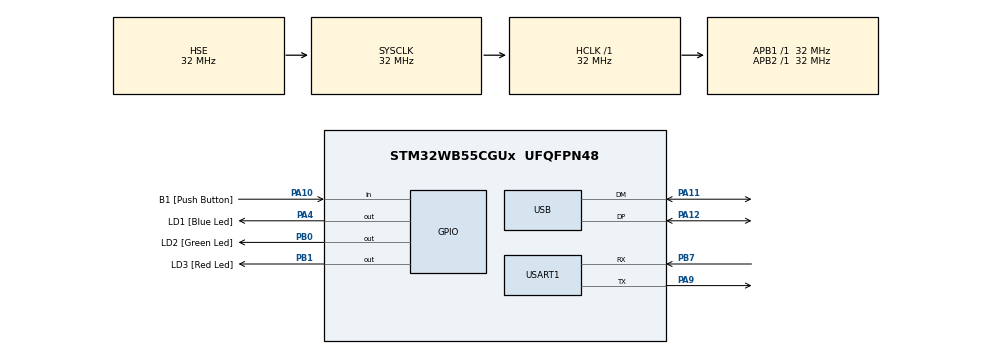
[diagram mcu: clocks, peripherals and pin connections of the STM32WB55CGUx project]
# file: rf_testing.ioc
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Mcu.Family=STM32WB
Mcu.Name=STM32WB55CGUx
Mcu.Package=UFQFPN48
NVIC.PriorityGroup=NVIC_PRIORITYGROUP_4
NVIC.RTC_WKUP_IRQn=true\:0\:0\:false\:false\:true\:true\:true
NVIC.USB_LP_IRQn=true\:0\:0\:false\:false\:true\:false\:true
OSC_IN.Mode=HSE-External-Oscillator
OSC_IN.Signal=RCC_OSC_IN
OSC_OUT.Mode=HSE-External-Oscillator
OSC_OUT.Signal=RCC_OSC_OUT
PA10.GPIO_Label=B1 [Push Button]
PA10.Signal=GPIO_Input
PA11.Mode=Device
PA11.Signal=USB_DM
PA12.Mode=Device
PA12.Signal=USB_DP
PA13.GPIO_Label=JTMS
PA13.Mode=Trace_Asynchronous_SW
PA13.Signal=SYS_JTMS-SWDIO
PA14.GPIO_Label=JTCK
PA14.Mode=Trace_Asynchronous_SW
PA14.Signal=SYS_JTCK-SWCLK
PA4.GPIO_Label=LD1 [Blue Led]
PA4.Signal=GPIO_Output
PA9.Mode=Asynchronous
PA9.Signal=USART1_TX
PB0.GPIO_Label=LD2 [Green Led]
PB0.Signal=GPIO_Output
PB1.GPIO_Label=LD3 [Red Led]
PB1.Signal=GPIO_Output
PB3.GPIO_Label=JTDO
PB3.Mode=Trace_Asynchronous_SW
PB3.Signal=SYS_JTDO-SWO
PB7.Mode=Asynchronous
PB7.Signal=USART1_RX
PC14-OSC32_IN.Mode=LSE-External-Oscillator
PC14-OSC32_IN.Signal=RCC_OSC32_IN
PC15-OSC32_OUT.Mode=LSE-External-Oscillator
PC15-OSC32_OUT.Signal=RCC_OSC32_OUT
ProjectManager.HeapSize=0x200
ProjectManager.StackSize=0x400
ProjectManager.TargetToolchain=TrueSTUDIO
RCC.ADCFreq_Value=48000000
RCC.AHBFreq_Value=32000000
RCC.APB1Freq_Value=32000000
RCC.APB1TimFreq_Value=32000000
RCC.APB2Freq_Value=32000000
RCC.APB2TimFreq_Value=32000000
RCC.APB3Freq_Value=16000000
RCC.CortexFreq_Value=32000000
RCC.HCLKFreq_Value=32000000
RCC.HSE_VALUE=32000000
RCC.HSI48_VALUE=48000000
RCC.HSI_VALUE=16000000
RCC.PLLN=32
RCC.PLLSAI1N=24
RCC.SYSCLKFreq_VALUE=32000000
RCC.SYSCLKSource=RCC_SYSCLKSOURCE_HSE
RCC.USBFreq_Value=48000000
RCC.VCOOutputFreq_Value=128000000
RF1.Mode=RF1_Activate
RF1.Signal=RF_RF1
STM32_WPAN.APPLI_CONFIG_LOG_LEVEL=LOG_LEVEL_NONE
STM32_WPAN.CFG_DEBUGGER_SUPPORTED=0
STM32_WPAN.CFG_DEBUG_TRACE_UART=hw_uart1
STM32_WPAN.CFG_FAST_CONN_ADV_INTERVAL_MAX_HEXA=0x0
STM32_WPAN.CFG_FAST_CONN_ADV_INTERVAL_MIN_HEXA=0x0
STM32_WPAN.CFG_HW_RESET_BY_FW=0
STM32_WPAN.CFG_HW_USART1_ENABLED=1
STM32_WPAN.CFG_LP_CONN_ADV_INTERVAL_MAX_HEXA=0x0
STM32_WPAN.CFG_LP_CONN_ADV_INTERVAL_MIN_HEXA=0x0
STM32_WPAN.CHANNEL=15
STM32_WPAN.LOCAL_NAME_FORMATTED=,'0'
STM32_WPAN.PANID=0123
STM32_WPAN.THREAD_APPLICATION=FTD
USART1.VirtualMode-Asynchronous=VM_ASYNC
USB_DEVICE.CLASS_NAME_FS=CDC
USB_DEVICE.VirtualMode=Cdc
USB_DEVICE.VirtualModeFS=Cdc_FS
VP_HSEM_VS_HSEM.Mode=HSEM_Activate
VP_RTC_VS_RTC_Activate.Mode=RTC_Enabled
VP_RTC_VS_RTC_WakeUp_intern.Mode=WakeUp
VP_SEQUENCER_VS_SEQUENCER.Mode=SEQUENCER_Enabled
VP_STM32_WPAN_VS_THREAD.Mode=STM32_WPAN_Enabled
VP_TINY_LPM_VS_TINY_LPM.Mode=TINY_LPM_Enabled
VP_USB_DEVICE_VS_USB_DEVICE_CDC_FS.Mode=CDC_FS
board=P-NUCLEO-WB55-USBDongle

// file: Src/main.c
/* USER CODE BEGIN Header */
/**
  ******************************************************************************
  * @file           : main.c
  * @brief          : Main program body
  ******************************************************************************
  * @attention
  *
  * <h2><center>&copy; Copyright (c) 2019 STMicroelectronics.
  * All rights reserved.</center></h2>
  *
  * This software component is licensed by ST under BSD 3-Clause license,
  * the "License"; You may not use this file except in compliance with the
  * License. You may obtain a copy of the License at:
  *                        opensource.org/licenses/BSD-3-Clause
  *
  ******************************************************************************
  */
/* USER CODE END Header */

#include "main.h"
#include "rf.h"
#include "rtc.h"
#include "app_entry.h"
#include "app_common.h"
#include "usart.h"
#include "usb_device.h"
#include "gpio.h"

/* USER CODE BEGIN Includes */
#include "stm32_seq.h"
/* USER CODE END Includes */

void SystemClock_Config(void);

int main(void)
{

  /* MCU Configuration--------------------------------------------------------*/

  /* Reset of all peripherals, Initializes the Flash interface and the Systick. */
  HAL_Init();

  /* Configure the system clock */
  SystemClock_Config();

  /* Initialize all configured peripherals */
  MX_GPIO_Init();
  MX_RF_Init();
  MX_RTC_Init();
  MX_USART1_UART_Init();
  MX_USB_Device_Init();
  /* USER CODE BEGIN 2 */

//  Init_Exti( ); /**< Disable all wakeup interrupt on CPU1  except IPCC(36), HSEM(38) */
  /* USER CODE END 2 */

  /* Init code for STM32_WPAN */
  APPE_Init();

  /* Infinite loop */
  /* USER CODE BEGIN WHILE */
  while (1)
  {
	  //UTIL_SEQ_SetTask(TASK_COAP_MSG_BUTTON,CFG_SCH_PRIO_1);
	  UTIL_SEQ_Run( UTIL_SEQ_DEFAULT );
    /* USER CODE END WHILE */

  }
}

void SystemClock_Config(void)
{
  RCC_OscInitTypeDef RCC_OscInitStruct = {0};
  RCC_ClkInitTypeDef RCC_ClkInitStruct = {0};
  RCC_PeriphCLKInitTypeDef PeriphClkInitStruct = {0};

  /** Macro to configure the PLL multiplication factor
  */
  __HAL_RCC_PLL_PLLM_CONFIG(RCC_PLLM_DIV1);
  /** Macro to configure the PLL clock source
  */
  __HAL_RCC_PLL_PLLSOURCE_CONFIG(RCC_PLLSOURCE_MSI);
  /** Configure LSE Drive Capability
  */
  __HAL_RCC_LSEDRIVE_CONFIG(RCC_LSEDRIVE_LOW);
  /** Configure the main internal regulator output voltage
  */
  __HAL_PWR_VOLTAGESCALING_CONFIG(PWR_REGULATOR_VOLTAGE_SCALE1);
  /** Initializes the CPU, AHB and APB busses clocks
  */
  RCC_OscInitStruct.OscillatorType = RCC_OSCILLATORTYPE_HSI|RCC_OSCILLATORTYPE_LSI1
                              |RCC_OSCILLATORTYPE_HSE|RCC_OSCILLATORTYPE_LSE
                              |RCC_OSCILLATORTYPE_MSI;
  RCC_OscInitStruct.HSEState = RCC_HSE_ON;
  RCC_OscInitStruct.LSEState = RCC_LSE_ON;
  RCC_OscInitStruct.HSIState = RCC_HSI_ON;
  RCC_OscInitStruct.MSIState = RCC_MSI_ON;
  RCC_OscInitStruct.HSICalibrationValue = RCC_HSICALIBRATION_DEFAULT;
  RCC_OscInitStruct.MSICalibrationValue = RCC_MSICALIBRATION_DEFAULT;
  RCC_OscInitStruct.MSIClockRange = RCC_MSIRANGE_6;
  RCC_OscInitStruct.LSIState = RCC_LSI_ON;
  RCC_OscInitStruct.PLL.PLLState = RCC_PLL_NONE;
  if (HAL_RCC_OscConfig(&RCC_OscInitStruct) != HAL_OK)
  {
    Error_Handler();
  }
  /** Configure the SYSCLKSource, HCLK, PCLK1 and PCLK2 clocks dividers
  */
  RCC_ClkInitStruct.ClockType = RCC_CLOCKTYPE_HCLK4|RCC_CLOCKTYPE_HCLK2
                              |RCC_CLOCKTYPE_HCLK|RCC_CLOCKTYPE_SYSCLK
                              |RCC_CLOCKTYPE_PCLK1|RCC_CLOCKTYPE_PCLK2;
  RCC_ClkInitStruct.SYSCLKSource = RCC_SYSCLKSOURCE_HSE;
  RCC_ClkInitStruct.AHBCLKDivider = RCC_SYSCLK_DIV1;
  RCC_ClkInitStruct.APB1CLKDivider = RCC_HCLK_DIV1;
  RCC_ClkInitStruct.APB2CLKDivider = RCC_HCLK_DIV1;
  RCC_ClkInitStruct.AHBCLK2Divider = RCC_SYSCLK_DIV1;
  RCC_ClkInitStruct.AHBCLK4Divider = RCC_SYSCLK_DIV1;

  if (HAL_RCC_ClockConfig(&RCC_ClkInitStruct, FLASH_LATENCY_1) != HAL_OK)
  {
    Error_Handler();
  }
  /** Initializes the peripherals clocks
  */
  PeriphClkInitStruct.PeriphClockSelection = RCC_PERIPHCLK_SMPS|RCC_PERIPHCLK_RFWAKEUP
                              |RCC_PERIPHCLK_RTC|RCC_PERIPHCLK_USART1
                              |RCC_PERIPHCLK_USB;
  PeriphClkInitStruct.PLLSAI1.PLLN = 24;
  PeriphClkInitStruct.PLLSAI1.PLLP = RCC_PLLP_DIV2;
  PeriphClkInitStruct.PLLSAI1.PLLQ = RCC_PLLQ_DIV2;
  PeriphClkInitStruct.PLLSAI1.PLLR = RCC_PLLR_DIV2;
  PeriphClkInitStruct.PLLSAI1.PLLSAI1ClockOut = RCC_PLLSAI1_USBCLK;
  PeriphClkInitStruct.Usart1ClockSelection = RCC_USART1CLKSOURCE_PCLK2;
  PeriphClkInitStruct.UsbClockSelection = RCC_USBCLKSOURCE_PLLSAI1;
  PeriphClkInitStruct.RTCClockSelection = RCC_RTCCLKSOURCE_LSI;
  PeriphClkInitStruct.RFWakeUpClockSelection = RCC_RFWKPCLKSOURCE_LSI;
  PeriphClkInitStruct.SmpsClockSelection = RCC_SMPSCLKSOURCE_HSE;
  PeriphClkInitStruct.SmpsDivSelection = RCC_SMPSCLKDIV_RANGE0;

  if (HAL_RCCEx_PeriphCLKConfig(&PeriphClkInitStruct) != HAL_OK)
  {
    Error_Handler();
  }
  /** Enable MSI Auto calibration
  */
  HAL_RCCEx_EnableMSIPLLMode();
}

/* USER CODE BEGIN 4 */

/*************************************************************
 *
 * LOCAL FUNCTIONS
 *
 *************************************************************/

static void Init_Exti( void )
{
  /**< Disable all wakeup interrupt on CPU1  except IPCC(36), HSEM(38) */
  LL_EXTI_DisableIT_0_31(~0);
  LL_EXTI_DisableIT_32_63( (~0) & (~(LL_EXTI_LINE_36 | LL_EXTI_LINE_38)) );

  return;
}

static void Reset_Device( void )
{
#if ( CFG_HW_RESET_BY_FW == 1 )
  Reset_BackupDomain();

  Reset_IPCC();
#endif

  return;
}

/**
 * @brief  Reset IPCC
 *
 * @note
 *
 * @param  None
 * @retval None
 */
static void Reset_IPCC( void )
{
  LL_AHB3_GRP1_EnableClock(LL_AHB3_GRP1_PERIPH_IPCC);

  LL_C1_IPCC_ClearFlag_CHx(
                           IPCC,
                           LL_IPCC_CHANNEL_1 | LL_IPCC_CHANNEL_2 | LL_IPCC_CHANNEL_3 | LL_IPCC_CHANNEL_4
                               | LL_IPCC_CHANNEL_5 | LL_IPCC_CHANNEL_6);

  LL_C2_IPCC_ClearFlag_CHx(
                           IPCC,
                           LL_IPCC_CHANNEL_1 | LL_IPCC_CHANNEL_2 | LL_IPCC_CHANNEL_3 | LL_IPCC_CHANNEL_4
                               | LL_IPCC_CHANNEL_5 | LL_IPCC_CHANNEL_6);

  LL_C1_IPCC_DisableTransmitChannel(
                                    IPCC,
                                    LL_IPCC_CHANNEL_1 | LL_IPCC_CHANNEL_2 | LL_IPCC_CHANNEL_3 | LL_IPCC_CHANNEL_4
                                        | LL_IPCC_CHANNEL_5 | LL_IPCC_CHANNEL_6);

  LL_C2_IPCC_DisableTransmitChannel(
                                    IPCC,
                                    LL_IPCC_CHANNEL_1 | LL_IPCC_CHANNEL_2 | LL_IPCC_CHANNEL_3 | LL_IPCC_CHANNEL_4
                                        | LL_IPCC_CHANNEL_5 | LL_IPCC_CHANNEL_6);

  LL_C1_IPCC_DisableReceiveChannel(
                                   IPCC,
                                   LL_IPCC_CHANNEL_1 | LL_IPCC_CHANNEL_2 | LL_IPCC_CHANNEL_3 | LL_IPCC_CHANNEL_4
                                       | LL_IPCC_CHANNEL_5 | LL_IPCC_CHANNEL_6);

  LL_C2_IPCC_DisableReceiveChannel(
                                   IPCC,
                                   LL_IPCC_CHANNEL_1 | LL_IPCC_CHANNEL_2 | LL_IPCC_CHANNEL_3 | LL_IPCC_CHANNEL_4
                                       | LL_IPCC_CHANNEL_5 | LL_IPCC_CHANNEL_6);

  return;
}

/*************************************************************
*
* WRAP FUNCTIONS
*
*************************************************************/

//void HAL_Delay(uint32_t delay)
//{
//uint32_t tickstart = HAL_GetTick();
//uint32_t wait = delay;
//
//if (wait < HAL_MAX_DELAY)
//{
//  wait ++;
//}
//
//while ((HAL_GetTick() - tickstart) < wait)
//{
//  UTIL_SEQ_Run( UTIL_SEQ_DEFAULT );
//}
//}
/* USER CODE END 4 */

void Error_Handler(void)
{
}

/************************ (C) COPYRIGHT STMicroelectronics *****END OF FILE****/
